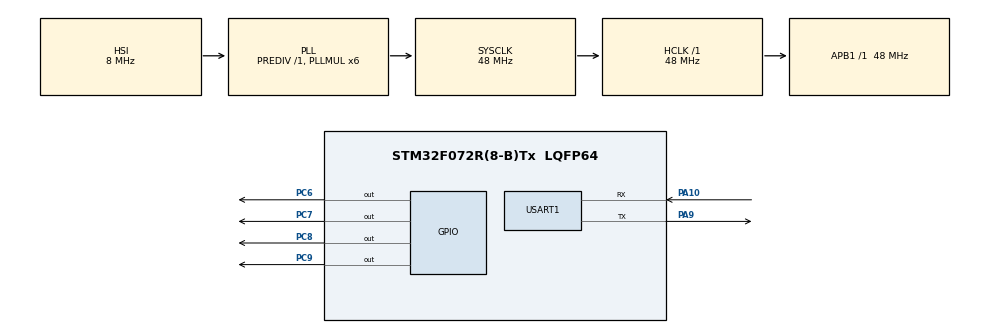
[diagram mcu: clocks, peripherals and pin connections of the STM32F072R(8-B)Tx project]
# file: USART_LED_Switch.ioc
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Mcu.Family=STM32F0
Mcu.Name=STM32F072R(8-B)Tx
Mcu.Package=LQFP64
NVIC.USART1_IRQn=true\:0\:0\:false\:false\:true\:true\:true\:true
PA10.Mode=Asynchronous
PA10.Signal=USART1_RX
PA9.Mode=Asynchronous
PA9.Signal=USART1_TX
PC6.Signal=GPIO_Output
PC7.Signal=GPIO_Output
PC8.Signal=GPIO_Output
PC9.Signal=GPIO_Output
PF0-OSC_IN.Mode=HSE-External-Oscillator
PF0-OSC_IN.Signal=RCC_OSC_IN
PF1-OSC_OUT.Mode=HSE-External-Oscillator
PF1-OSC_OUT.Signal=RCC_OSC_OUT
ProjectManager.HeapSize=0x200
ProjectManager.StackSize=0x400
ProjectManager.TargetToolchain=STM32CubeIDE
RCC.AHBFreq_Value=48000000
RCC.APB1Freq_Value=48000000
RCC.APB1TimFreq_Value=48000000
RCC.HCLKFreq_Value=48000000
RCC.PLLMUL=RCC_PLL_MUL6
RCC.SYSCLKFreq_VALUE=48000000
RCC.SYSCLKSource=RCC_SYSCLKSOURCE_PLLCLK
USART1.VirtualMode-Asynchronous=VM_ASYNC
board=STM32F072B-DISCO

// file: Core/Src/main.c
/* USER CODE BEGIN Header */
/**
  ******************************************************************************
  * @file           : main.c
  * @brief          : Main program body
  ******************************************************************************
  * @attention
  *
  * Copyright (c) 2023 STMicroelectronics.
  * All rights reserved.
  *
  * This software is licensed under terms that can be found in the LICENSE file
  * in the root directory of this software component.
  * If no LICENSE file comes with this software, it is provided AS-IS.
  *
  ******************************************************************************
  */
/* USER CODE END Header */
#include "main.h"
#include <stdint.h>
#include <string.h>
#include <stdio.h>
#include <stdlib.h>
#include <errno.h>
#include <sys/unistd.h>
#include <sys/stat.h>

/* USER CODE BEGIN Includes */
uint8_t buffer[5];
uint8_t functionEnabled = 1; // Enabled by default
/* USER CODE END Includes */

UART_HandleTypeDef huart1;

void SystemClock_Config(void);
void MX_GPIO_Init(void);
void MX_USART1_UART_Init(void);

/* USER CODE BEGIN 0 */
void HAL_UART_RxCpltCallback(UART_HandleTypeDef *huart)
{
    if (huart->Instance == USART1)
    {
        if (functionEnabled) {
            HAL_UART_Transmit(&huart1, buffer, 1, 100);
            switch (buffer[0])
            {
                case 'r':
                    HAL_GPIO_WritePin(GPIOC, GPIO_PIN_6, GPIO_PIN_SET);
                    HAL_GPIO_WritePin(GPIOC, GPIO_PIN_7 | GPIO_PIN_8 | GPIO_PIN_9, GPIO_PIN_RESET);
                    break;
                case 'b':
                    HAL_GPIO_WritePin(GPIOC, GPIO_PIN_7, GPIO_PIN_SET);
                    HAL_GPIO_WritePin(GPIOC, GPIO_PIN_6 | GPIO_PIN_8 | GPIO_PIN_9, GPIO_PIN_RESET);
                    break;
                case 'o':
                    HAL_GPIO_WritePin(GPIOC, GPIO_PIN_8, GPIO_PIN_SET);
                    HAL_GPIO_WritePin(GPIOC, GPIO_PIN_6 | GPIO_PIN_7 | GPIO_PIN_9, GPIO_PIN_RESET);
                    break;
                case 'g':
                    HAL_GPIO_WritePin(GPIOC, GPIO_PIN_9, GPIO_PIN_SET);
                    HAL_GPIO_WritePin(GPIOC, GPIO_PIN_6 | GPIO_PIN_7 | GPIO_PIN_8, GPIO_PIN_RESET);
                    break;
                case 'f':
                    HAL_GPIO_WritePin(GPIOC, GPIO_PIN_6 | GPIO_PIN_7 | GPIO_PIN_8 | GPIO_PIN_9, GPIO_PIN_RESET);
                    break;
                default:
                    break;
            }
        }
        memset(buffer, 0, sizeof(buffer));
        HAL_UART_Receive_IT(&huart1, buffer, 1);
    }
}

/* USER CODE END 0 */

int main(void)
{
  /* USER CODE BEGIN 1 */

	 setvbuf(stdout, NULL, _IONBF, 0);
	    setvbuf(stderr, NULL, _IONBF, 0);
	    if (isatty(fileno(stdout))) {
	        struct stat st;
	        if (fstat(fileno(stdout), &st) == 0) {
	            if (S_ISCHR(st.st_mode)) {
	                printf("stdio is a tty\n");
	            }
	        }
	    }

  /* USER CODE END 1 */

  /* MCU Configuration--------------------------------------------------------*/

  /* Reset of all peripherals, Initializes the Flash interface and the Systick. */
  HAL_Init();

  /* Configure the system clock */
  SystemClock_Config();

  /* Initialize all configured peripherals */
  MX_GPIO_Init();
  MX_USART1_UART_Init();
  /* USER CODE BEGIN 2 */
  HAL_UART_Receive_IT(&huart1, buffer, 1);

  /* USER CODE END 2 */

  /* Infinite loop */
  /* USER CODE BEGIN WHILE */

  while (1)
  {
      uint8_t input;
      if (HAL_UART_Receive(&huart1, &input, 1, 100) == HAL_OK) {
          if (input == 'e') {
              functionEnabled = 1;
              HAL_UART_Transmit(&huart1, (uint8_t*)"Function enabled\r\n", 18, 100);
          } else if (input == 'd') {
              functionEnabled = 0;
              HAL_UART_Transmit(&huart1, (uint8_t*)"Function disabled\r\n", 19, 100);
              HAL_GPIO_WritePin(GPIOC, GPIO_PIN_6 | GPIO_PIN_7 | GPIO_PIN_8 | GPIO_PIN_9, GPIO_PIN_RESET);
          }
      }
  }

  /* USER CODE END 3 */
}

void SystemClock_Config(void)
{
  RCC_OscInitTypeDef RCC_OscInitStruct = {0};
  RCC_ClkInitTypeDef RCC_ClkInitStruct = {0};
  RCC_PeriphCLKInitTypeDef PeriphClkInit = {0};

  /** Initializes the RCC Oscillators according to the specified parameters
  * in the RCC_OscInitTypeDef structure.
  */
  RCC_OscInitStruct.OscillatorType = RCC_OSCILLATORTYPE_HSI;
  RCC_OscInitStruct.HSIState = RCC_HSI_ON;
  RCC_OscInitStruct.HSICalibrationValue = RCC_HSICALIBRATION_DEFAULT;
  RCC_OscInitStruct.PLL.PLLState = RCC_PLL_ON;
  RCC_OscInitStruct.PLL.PLLSource = RCC_PLLSOURCE_HSI;
  RCC_OscInitStruct.PLL.PLLMUL = RCC_PLL_MUL6;
  RCC_OscInitStruct.PLL.PREDIV = RCC_PREDIV_DIV1;
  if (HAL_RCC_OscConfig(&RCC_OscInitStruct) != HAL_OK)
  {
    Error_Handler();
  }

  /** Initializes the CPU, AHB and APB buses clocks
  */
  RCC_ClkInitStruct.ClockType = RCC_CLOCKTYPE_HCLK|RCC_CLOCKTYPE_SYSCLK
                              |RCC_CLOCKTYPE_PCLK1;
  RCC_ClkInitStruct.SYSCLKSource = RCC_SYSCLKSOURCE_PLLCLK;
  RCC_ClkInitStruct.AHBCLKDivider = RCC_SYSCLK_DIV1;
  RCC_ClkInitStruct.APB1CLKDivider = RCC_HCLK_DIV1;

  if (HAL_RCC_ClockConfig(&RCC_ClkInitStruct, FLASH_LATENCY_1) != HAL_OK)
  {
    Error_Handler();
  }
  PeriphClkInit.PeriphClockSelection = RCC_PERIPHCLK_USART1;
  PeriphClkInit.Usart1ClockSelection = RCC_USART1CLKSOURCE_PCLK1;
  if (HAL_RCCEx_PeriphCLKConfig(&PeriphClkInit) != HAL_OK)
  {
    Error_Handler();
  }
}

void MX_USART1_UART_Init(void)
{

  huart1.Instance = USART1;
  huart1.Init.BaudRate = 38400;
  huart1.Init.WordLength = UART_WORDLENGTH_8B;
  huart1.Init.StopBits = UART_STOPBITS_1;
  huart1.Init.Parity = UART_PARITY_NONE;
  huart1.Init.Mode = UART_MODE_TX_RX;
  huart1.Init.HwFlowCtl = UART_HWCONTROL_NONE;
  huart1.Init.OverSampling = UART_OVERSAMPLING_16;
  huart1.Init.OneBitSampling = UART_ONE_BIT_SAMPLE_DISABLE;
  huart1.AdvancedInit.AdvFeatureInit = UART_ADVFEATURE_NO_INIT;
  if (HAL_UART_Init(&huart1) != HAL_OK)
  {
    Error_Handler();
  }

}

void MX_GPIO_Init(void)
{
  GPIO_InitTypeDef GPIO_InitStruct = {0};

  /* GPIO Ports Clock Enable */
  __HAL_RCC_GPIOF_CLK_ENABLE();
  __HAL_RCC_GPIOC_CLK_ENABLE();
  __HAL_RCC_GPIOA_CLK_ENABLE();

  /*Configure GPIO pin Output Level */
  HAL_GPIO_WritePin(GPIOC, GPIO_PIN_6|GPIO_PIN_7|GPIO_PIN_8|GPIO_PIN_9, GPIO_PIN_RESET);

  /*Configure GPIO pins : PC6 PC7 PC8 PC9 */
  GPIO_InitStruct.Pin = GPIO_PIN_6|GPIO_PIN_7|GPIO_PIN_8|GPIO_PIN_9;
  GPIO_InitStruct.Mode = GPIO_MODE_OUTPUT_PP;
  GPIO_InitStruct.Pull = GPIO_NOPULL;
  GPIO_InitStruct.Speed = GPIO_SPEED_FREQ_LOW;
  HAL_GPIO_Init(GPIOC, &GPIO_InitStruct);

}

void Error_Handler(void)
{
  __disable_irq();
  while (1)
  {
  }
}
